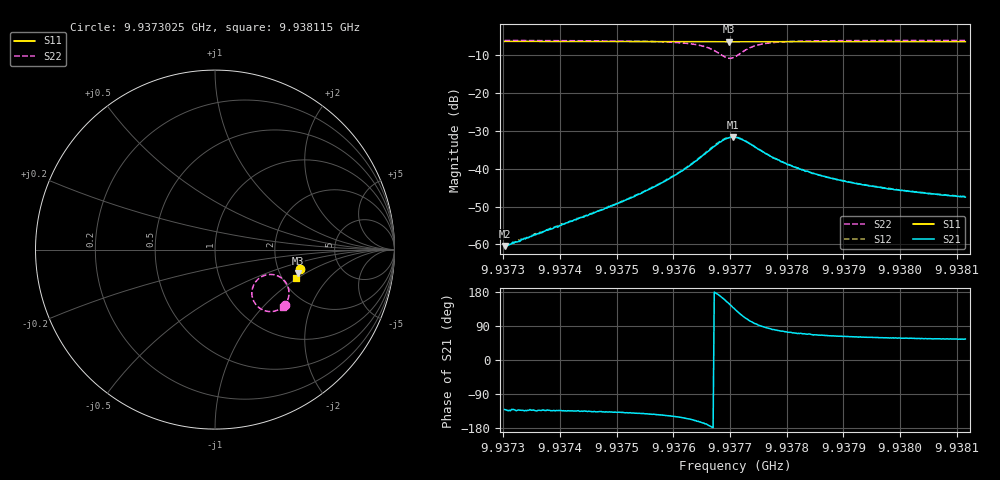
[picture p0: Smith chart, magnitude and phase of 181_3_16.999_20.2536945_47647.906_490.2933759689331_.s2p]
#  HZ  S  RI  R  50.00
! Rohde & Schwarz Vector Network Analyzer
! Rohde-Schwarz,ZNB20-2Port,1311601062101988,3.16
! Created: UTC 3/20/2024, 11:00:10 PM
! freq[Hz]  re:S11  im:S11  re:S21  im:S21  re:S12  im:S12  re:S22  im:S22
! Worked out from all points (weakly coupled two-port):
!   401 points, 9.9373025 GHz to 9.938115 GHz, reference 50 ohm
!   highest |S21| = -31.63 dB at 9.9377047 GHz (marker M1); lowest = -60.5 dB at 9.9373025 GHz (marker M2)
!   lowest |S11| = -6.4 dB at 9.9376986 GHz (marker M3), VSWR 2.84, Z = 125 - j42.6 ohm
!   |S11| at or under -10 dB: nowhere
!   |S22| runs from -10.8 to -6.0 dB; largest |S21 - S12| = 0.0012
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9.93730254e9  0.4716 -0.1064  -0.00062 -0.000719  -0.000656 -0.000684  0.3886 -0.3109
9.93732691e9  0.4711 -0.1082  -0.000725 -0.000813  -0.000771 -0.000846  0.3865 -0.3128
9.93734316e9  0.4707 -0.1094  -0.000836 -0.000902  -0.000845 -0.000876  0.385 -0.3142
9.93743863e9  0.4687 -0.1159  -0.0016 -0.00161  -0.00164 -0.00159  0.3735 -0.3235
9.93752597e9  0.4667 -0.1218  -0.00315 -0.00266  -0.00327 -0.00268  0.3555 -0.3345
9.93757471e9  0.4655 -0.1251  -0.00506 -0.00359  -0.00522 -0.00358  0.3367 -0.3416
9.9376194e9  0.464 -0.1283  -0.00874 -0.00442  -0.00898 -0.00437  0.3037 -0.3454
9.93765596e9  0.4624 -0.1307  -0.0154 -0.00311  -0.0159 -0.00286  0.2501 -0.3271
9.93767018e9  0.4616 -0.1313  -0.0193 -0.000476  -0.0196 -1.39e-05  0.2229 -0.2994
9.93768237e9  0.4608 -0.1316  -0.0221 0.00429  -0.0224 0.00505  0.2063 -0.2574
9.93769861e9  0.4602 -0.1316  -0.0219 0.0136  -0.0218 0.0147  0.2233 -0.1833
9.93770471e9  0.4604 -0.1316  -0.0198 0.0172  -0.0195 0.018  0.2451 -0.1604
9.93770877e9  0.4605 -0.1314  -0.0179 0.0187  -0.0176 0.0197  0.2627 -0.1492
9.93771893e9  0.4607 -0.1319  -0.0125 0.0214  -0.0118 0.0221  0.3095 -0.1382
9.93773314e9  0.4613 -0.1326  -0.00553 0.0211  -0.005 0.0214  0.362 -0.153
9.93775549e9  0.4615 -0.1342  0.000258 0.0173  0.00074 0.0172  0.4005 -0.1937
9.93779205e9  0.4611 -0.1373  0.00293 0.0121  0.00327 0.0118  0.4127 -0.2408
9.93784486e9  0.4601 -0.1411  0.00341 0.00797  0.00358 0.00804  0.4079 -0.2742
9.93790376e9  0.4587 -0.1451  0.00318 0.00602  0.00332 0.00598  0.4002 -0.2928
9.93798094e9  0.4567 -0.1503  0.00285 0.00459  0.00294 0.00463  0.3919 -0.3071
9.93805813e9  0.4547 -0.1554  0.00262 0.00384  0.00265 0.00381  0.3849 -0.3163
9.938115e9  0.4533 -0.159  0.00239 0.00347  0.00255 0.00345  0.3803 -0.3219
